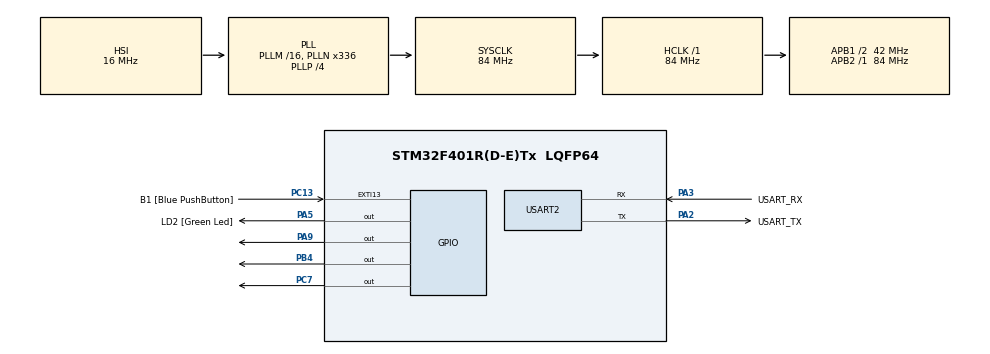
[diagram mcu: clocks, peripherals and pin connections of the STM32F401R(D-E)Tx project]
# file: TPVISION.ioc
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Mcu.Family=STM32F4
Mcu.Name=STM32F401R(D-E)Tx
Mcu.Package=LQFP64
NVIC.PriorityGroup=NVIC_PRIORITYGROUP_0
PA13.GPIO_Label=TMS
PA13.Mode=Serial_Wire
PA13.Signal=SYS_JTMS-SWDIO
PA14.GPIO_Label=TCK
PA14.Mode=Serial_Wire
PA14.Signal=SYS_JTCK-SWCLK
PA2.GPIO_Label=USART_TX
PA2.GPIO_Mode=GPIO_MODE_AF_PP
PA2.GPIO_PuPd=GPIO_NOPULL
PA2.GPIO_Speed=GPIO_SPEED_FREQ_LOW
PA2.Mode=Asynchronous
PA2.Signal=USART2_TX
PA3.GPIO_Label=USART_RX
PA3.GPIO_Mode=GPIO_MODE_AF_PP
PA3.GPIO_PuPd=GPIO_NOPULL
PA3.GPIO_Speed=GPIO_SPEED_FREQ_LOW
PA3.Mode=Asynchronous
PA3.Signal=USART2_RX
PA5.GPIO_Label=LD2 [Green Led]
PA5.GPIO_Mode=GPIO_MODE_OUTPUT_PP
PA5.GPIO_PuPd=GPIO_NOPULL
PA5.GPIO_Speed=GPIO_SPEED_FREQ_LOW
PA5.Signal=GPIO_Output
PA9.Signal=GPIO_Output
PB3.GPIO_Label=SWO
PB3.Signal=SYS_JTDO-SWO
PB4.Signal=GPIO_Output
PC13-ANTI_TAMP.GPIO_Label=B1 [Blue PushButton]
PC13-ANTI_TAMP.GPIO_ModeDefaultEXTI=GPIO_MODE_IT_FALLING
PC13-ANTI_TAMP.GPIO_PuPd=GPIO_NOPULL
PC13-ANTI_TAMP.Signal=GPXTI13
PC14-OSC32_IN.Mode=LSE-External-Oscillator
PC14-OSC32_IN.Signal=RCC_OSC32_IN
PC15-OSC32_OUT.Mode=LSE-External-Oscillator
PC15-OSC32_OUT.Signal=RCC_OSC32_OUT
PC7.Signal=GPIO_Output
PH0\ -\ OSC_IN.Mode=HSE-External-Clock-Source
PH0\ -\ OSC_IN.Signal=RCC_OSC_IN
PH1\ -\ OSC_OUT.Mode=HSE-External-Clock-Source
PH1\ -\ OSC_OUT.Signal=RCC_OSC_OUT
ProjectManager.HeapSize=0x200
ProjectManager.StackSize=0x400
ProjectManager.TargetToolchain=STM32CubeIDE
RCC.48MHZClocksFreq_Value=48000000
RCC.AHBFreq_Value=84000000
RCC.APB1CLKDivider=RCC_HCLK_DIV2
RCC.APB1Freq_Value=42000000
RCC.APB1TimFreq_Value=84000000
RCC.APB2Freq_Value=84000000
RCC.APB2TimFreq_Value=84000000
RCC.CortexFreq_Value=84000000
RCC.HCLKFreq_Value=84000000
RCC.HSE_VALUE=8000000
RCC.HSI_VALUE=16000000
RCC.PLLN=336
RCC.PLLP=RCC_PLLP_DIV4
RCC.PLLQ=7
RCC.SYSCLKFreq_VALUE=84000000
RCC.SYSCLKSource=RCC_SYSCLKSOURCE_PLLCLK
RCC.VCOOutputFreq_Value=336000000
USART2.VirtualMode=VM_ASYNC
board=NUCLEO-F401RE

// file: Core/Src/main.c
/* USER CODE BEGIN Header */
/**
  ******************************************************************************
  * @file           : main.c
  * @brief          : Main program body
  ******************************************************************************
  * @attention
  *
  * Copyright (c) 2025 STMicroelectronics.
  * All rights reserved.
  *
  * This software is licensed under terms that can be found in the LICENSE file
  * in the root directory of this software component.
  * If no LICENSE file comes with this software, it is provided AS-IS.
  *
  ******************************************************************************
  */
/* USER CODE END Header */
#include "main.h"

UART_HandleTypeDef huart2;

void SystemClock_Config(void);
static void MX_GPIO_Init(void);
static void MX_USART2_UART_Init(void);

int main(void)
{

  /* MCU Configuration--------------------------------------------------------*/

  /* Reset of all peripherals, Initializes the Flash interface and the Systick. */
  HAL_Init();

  /* Configure the system clock */
  SystemClock_Config();

  /* Initialize all configured peripherals */
  MX_GPIO_Init();
  MX_USART2_UART_Init();
  /* USER CODE BEGIN 2 */
  uint8_t received_char = 'X'; // Default Character
  /* USER CODE END 2 */

  /* Infinite loop */
  while (1)
  {

    /* USER CODE BEGIN 3 */
	  if (HAL_UART_Receive(&huart2, &received_char, 1, HAL_MAX_DELAY) == HAL_OK)
	      {
	          // First: turn all LEDs OFF
	          HAL_GPIO_WritePin(GPIOC, GPIO_PIN_7, GPIO_PIN_RESET); // GREEN
	          HAL_GPIO_WritePin(GPIOA, GPIO_PIN_9, GPIO_PIN_RESET); // BLUE
	          HAL_GPIO_WritePin(GPIOB, GPIO_PIN_4, GPIO_PIN_RESET); // RED

	          // Then: turn ON the correct one
	          switch (received_char)
	          {
	              case 'R':
	                  HAL_GPIO_WritePin(GPIOC, GPIO_PIN_7, GPIO_PIN_SET); // RED ON
	                  break;

	              case 'G':
	                  HAL_GPIO_WritePin(GPIOA, GPIO_PIN_9, GPIO_PIN_SET); // GREEN ON
	                  break;

	              case 'B':
	                  HAL_GPIO_WritePin(GPIOD, GPIO_PIN_5, GPIO_PIN_SET); // BLUE ON
	                  break;

	              default:
	                  // Unknown char: keep all OFF (already handled)
	                  break;
	          }
	      }
  }
  /* USER CODE END 3 */
}

void SystemClock_Config(void)
{
  RCC_OscInitTypeDef RCC_OscInitStruct = {0};
  RCC_ClkInitTypeDef RCC_ClkInitStruct = {0};

  /** Configure the main internal regulator output voltage
  */
  __HAL_RCC_PWR_CLK_ENABLE();
  __HAL_PWR_VOLTAGESCALING_CONFIG(PWR_REGULATOR_VOLTAGE_SCALE2);

  /** Initializes the RCC Oscillators according to the specified parameters
  * in the RCC_OscInitTypeDef structure.
  */
  RCC_OscInitStruct.OscillatorType = RCC_OSCILLATORTYPE_HSI;
  RCC_OscInitStruct.HSIState = RCC_HSI_ON;
  RCC_OscInitStruct.HSICalibrationValue = RCC_HSICALIBRATION_DEFAULT;
  RCC_OscInitStruct.PLL.PLLState = RCC_PLL_ON;
  RCC_OscInitStruct.PLL.PLLSource = RCC_PLLSOURCE_HSI;
  RCC_OscInitStruct.PLL.PLLM = 16;
  RCC_OscInitStruct.PLL.PLLN = 336;
  RCC_OscInitStruct.PLL.PLLP = RCC_PLLP_DIV4;
  RCC_OscInitStruct.PLL.PLLQ = 7;
  if (HAL_RCC_OscConfig(&RCC_OscInitStruct) != HAL_OK)
  {
    Error_Handler();
  }

  /** Initializes the CPU, AHB and APB buses clocks
  */
  RCC_ClkInitStruct.ClockType = RCC_CLOCKTYPE_HCLK|RCC_CLOCKTYPE_SYSCLK
                              |RCC_CLOCKTYPE_PCLK1|RCC_CLOCKTYPE_PCLK2;
  RCC_ClkInitStruct.SYSCLKSource = RCC_SYSCLKSOURCE_PLLCLK;
  RCC_ClkInitStruct.AHBCLKDivider = RCC_SYSCLK_DIV1;
  RCC_ClkInitStruct.APB1CLKDivider = RCC_HCLK_DIV2;
  RCC_ClkInitStruct.APB2CLKDivider = RCC_HCLK_DIV1;

  if (HAL_RCC_ClockConfig(&RCC_ClkInitStruct, FLASH_LATENCY_2) != HAL_OK)
  {
    Error_Handler();
  }
}

static void MX_USART2_UART_Init(void)
{

  huart2.Instance = USART2;
  huart2.Init.BaudRate = 115200;
  huart2.Init.WordLength = UART_WORDLENGTH_8B;
  huart2.Init.StopBits = UART_STOPBITS_1;
  huart2.Init.Parity = UART_PARITY_NONE;
  huart2.Init.Mode = UART_MODE_TX_RX;
  huart2.Init.HwFlowCtl = UART_HWCONTROL_NONE;
  huart2.Init.OverSampling = UART_OVERSAMPLING_16;
  if (HAL_UART_Init(&huart2) != HAL_OK)
  {
    Error_Handler();
  }

}

static void MX_GPIO_Init(void)
{
  GPIO_InitTypeDef GPIO_InitStruct = {0};

  /* GPIO Ports Clock Enable */
  __HAL_RCC_GPIOC_CLK_ENABLE();
  __HAL_RCC_GPIOH_CLK_ENABLE();
  __HAL_RCC_GPIOA_CLK_ENABLE();
  __HAL_RCC_GPIOB_CLK_ENABLE();

  /*Configure GPIO pin Output Level */
  HAL_GPIO_WritePin(GPIOA, LD2_Pin|GPIO_PIN_9, GPIO_PIN_RESET);

  /*Configure GPIO pin Output Level */
  HAL_GPIO_WritePin(GPIOC, GPIO_PIN_7, GPIO_PIN_RESET);

  /*Configure GPIO pin Output Level */
  HAL_GPIO_WritePin(GPIOB, GPIO_PIN_4, GPIO_PIN_RESET);

  /*Configure GPIO pin : B1_Pin */
  GPIO_InitStruct.Pin = B1_Pin;
  GPIO_InitStruct.Mode = GPIO_MODE_IT_FALLING;
  GPIO_InitStruct.Pull = GPIO_NOPULL;
  HAL_GPIO_Init(B1_GPIO_Port, &GPIO_InitStruct);

  /*Configure GPIO pins : LD2_Pin PA9 */
  GPIO_InitStruct.Pin = LD2_Pin|GPIO_PIN_9;
  GPIO_InitStruct.Mode = GPIO_MODE_OUTPUT_PP;
  GPIO_InitStruct.Pull = GPIO_NOPULL;
  GPIO_InitStruct.Speed = GPIO_SPEED_FREQ_LOW;
  HAL_GPIO_Init(GPIOA, &GPIO_InitStruct);

  /*Configure GPIO pin : PC7 */
  GPIO_InitStruct.Pin = GPIO_PIN_7;
  GPIO_InitStruct.Mode = GPIO_MODE_OUTPUT_PP;
  GPIO_InitStruct.Pull = GPIO_NOPULL;
  GPIO_InitStruct.Speed = GPIO_SPEED_FREQ_LOW;
  HAL_GPIO_Init(GPIOC, &GPIO_InitStruct);

  /*Configure GPIO pin : PB4 */
  GPIO_InitStruct.Pin = GPIO_PIN_4;
  GPIO_InitStruct.Mode = GPIO_MODE_OUTPUT_PP;
  GPIO_InitStruct.Pull = GPIO_NOPULL;
  GPIO_InitStruct.Speed = GPIO_SPEED_FREQ_LOW;
  HAL_GPIO_Init(GPIOB, &GPIO_InitStruct);

}

void Error_Handler(void)
{
  __disable_irq();
  while (1)
  {
  }
}
